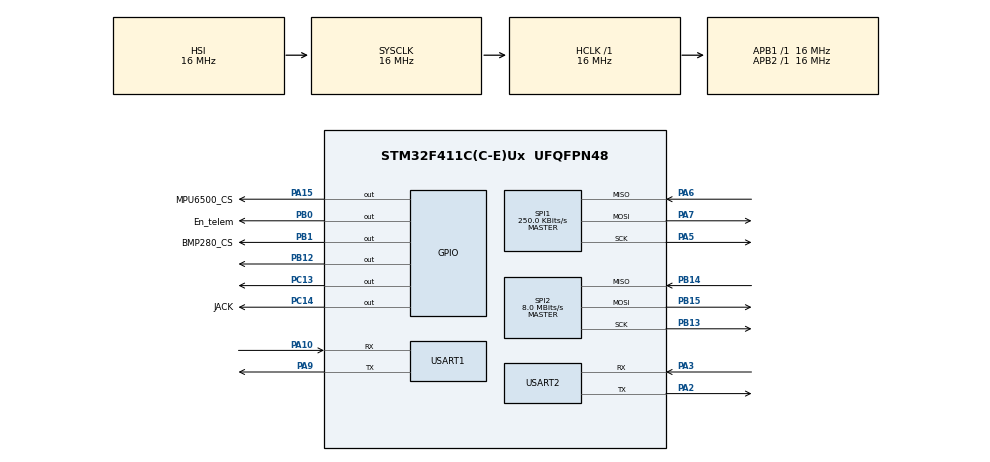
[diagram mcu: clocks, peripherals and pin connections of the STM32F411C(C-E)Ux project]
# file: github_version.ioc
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FATFS._FS_MINIMIZE=0
FATFS._MAX_SS=4096
FATFS._USE_LFN=1
Mcu.Family=STM32F4
Mcu.Name=STM32F411C(C-E)Ux
Mcu.Package=UFQFPN48
NVIC.PriorityGroup=NVIC_PRIORITYGROUP_4
NVIC.TIM2_IRQn=true\:0\:0\:false\:false\:true\:true\:true\:true
PA10.Mode=Asynchronous
PA10.Signal=USART1_RX
PA15.GPIO_Label=MPU6500_CS
PA15.GPIO_Speed=GPIO_SPEED_FREQ_HIGH
PA15.PinState=GPIO_PIN_SET
PA15.Signal=GPIO_Output
PA2.Mode=Asynchronous
PA2.Signal=USART2_TX
PA3.Mode=Asynchronous
PA3.Signal=USART2_RX
PA5.Mode=Full_Duplex_Master
PA5.Signal=SPI1_SCK
PA6.Mode=Full_Duplex_Master
PA6.Signal=SPI1_MISO
PA7.Mode=Full_Duplex_Master
PA7.Signal=SPI1_MOSI
PA9.Mode=Asynchronous
PA9.Signal=USART1_TX
PB0.GPIO_Label=En_telem
PB0.GPIO_Speed=GPIO_SPEED_FREQ_LOW
PB0.PinState=GPIO_PIN_RESET
PB0.Signal=GPIO_Output
PB1.GPIO_Label=BMP280_CS
PB1.GPIO_Speed=GPIO_SPEED_FREQ_HIGH
PB1.PinState=GPIO_PIN_SET
PB1.Signal=GPIO_Output
PB12.Signal=GPIO_Output
PB13.Mode=Full_Duplex_Master
PB13.Signal=SPI2_SCK
PB14.Mode=Full_Duplex_Master
PB14.Signal=SPI2_MISO
PB15.Mode=Full_Duplex_Master
PB15.Signal=SPI2_MOSI
PC13-ANTI_TAMP.Signal=GPIO_Output
PC14-OSC32_IN.GPIO_Label=JACK
PC14-OSC32_IN.GPIO_PuPd=GPIO_PULLUP
PC14-OSC32_IN.PinState=GPIO_PIN_SET
PC14-OSC32_IN.Signal=GPIO_Output
ProjectManager.HeapSize=0x200
ProjectManager.StackSize=0x400
ProjectManager.TargetToolchain=STM32CubeIDE
RCC.48MHZClocksFreq_Value=48000000
RCC.AHBFreq_Value=16000000
RCC.APB1Freq_Value=16000000
RCC.APB2Freq_Value=16000000
RCC.CortexFreq_Value=16000000
RCC.HSE_VALUE=25000000
RCC.HSI_VALUE=16000000
RCC.LSE_VALUE=32768
RCC.SYSCLKFreq_VALUE=16000000
RCC.VCOOutputFreq_Value=192000000
SPI1.BaudRatePrescaler=SPI_BAUDRATEPRESCALER_64
SPI1.CLKPhase=SPI_PHASE_2EDGE
SPI1.CLKPolarity=SPI_POLARITY_HIGH
SPI1.CalculateBaudRate=250.0 KBits/s
SPI1.DataSize=SPI_DATASIZE_8BIT
SPI1.Direction=SPI_DIRECTION_2LINES
SPI1.Mode=SPI_MODE_MASTER
SPI1.VirtualType=VM_MASTER
SPI2.CalculateBaudRate=8.0 MBits/s
SPI2.Direction=SPI_DIRECTION_2LINES
SPI2.Mode=SPI_MODE_MASTER
SPI2.VirtualType=VM_MASTER
TIM2.Period=9
TIM2.Prescaler=1599
USART1.VirtualMode=VM_ASYNC
USART2.VirtualMode=VM_ASYNC
VP_FATFS_VS_Generic.Mode=User_defined
VP_TIM2_VS_ClockSourceINT.Mode=Internal
board=custom

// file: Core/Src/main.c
/* USER CODE BEGIN Header */
/**
  ******************************************************************************
  * @file           : main.c
  * @brief          : Main program body
  ******************************************************************************
  * @attention
  *
  * Copyright (c) 2023 STMicroelectronics.
  * All rights reserved.
  *
  * This software is licensed under terms that can be found in the LICENSE file
  * in the root directory of this software component.
  * If no LICENSE file comes with this software, it is provided AS-IS.
  *
  ******************************************************************************
  */
/* USER CODE END Header */
#include "main.h"
#include "fatfs.h"
#include "spi.h"
#include "tim.h"
#include "usart.h"
#include "gpio.h"

/* USER CODE BEGIN Includes */
#include <stdio.h>
#include <string.h>
#include "mpu9250.h"
#include "bmp280.h"
/* USER CODE END Includes */

/* USER CODE BEGIN PD */
#define ACCEL_SENSITIVITY_SCALE_FACTOR 4096.0
#define GYRO_SENSITIVITY_SCALE_FACTOR 32.8
#define TEMP_SCALE_FACTOR 100.0 //chatgpt, to be verify
#define PRESSURE_SCALE_FACTOR 25600.0 // idem
#define DATA_BUFFER_SIZE 40000
#define EXPE_DATA_SIZE 50
#define ACQUISITION_DELAY 10 //ms
#define MOTOR_DELAY 100 //ms
#define WRITE_SD_DELAY 2000 //ms
#define START_TELEM 5000 //ms
#define STOP_TELEM 180000 //ms
/* USER CODE END PD */

void SystemClock_Config(void);
/* USER CODE BEGIN PFP */
void process_SD_card(const char *data);
void init_SD_card(void);
/* USER CODE END PFP */

/* USER CODE BEGIN 0 */
int _write(int file, char *ptr, int len) {
    HAL_UART_Transmit(&huart2, (uint8_t*)ptr, len, HAL_MAX_DELAY);
    return len;
}
/* USER CODE END 0 */

int main(void)
{
  /* USER CODE BEGIN 1 */
  BMP280 bmp;
  char init_buffer[100];

  /* USER CODE END 1 */

  /* MCU Configuration--------------------------------------------------------*/

  /* Reset of all peripherals, Initializes the Flash interface and the Systick. */
  HAL_Init();

  /* Configure the system clock */
  SystemClock_Config();

  /* USER CODE BEGIN SysInit */
  MX_TIM2_Init();
  /* USER CODE END SysInit */

  /* Initialize all configured peripherals */
  MX_GPIO_Init();
  MX_SPI1_Init();
  MX_USART2_UART_Init();
  MX_FATFS_Init();
  MX_SPI2_Init();
  MX_TIM2_Init();
  MX_USART1_UART_Init();
  /* USER CODE BEGIN 2 */
  MPU9250_Init(hspi1);
  bmp280_init(&bmp, &hspi1);
  HAL_Delay(500);
  init_SD_card();
  sprintf(init_buffer, "########################## New flight ##########################\n");
  process_SD_card(init_buffer);
  memset(init_buffer, 0, 100);

  /* USER CODE END 2 */

  /* Infinite loop */
  /* USER CODE BEGIN WHILE */

  char buffer[DATA_BUFFER_SIZE];
  uint8_t bufferNano[EXPE_DATA_SIZE];
  uint8_t launch = 0;
  int telem = 0;
  uint8_t expe = 0;

  HAL_StatusTypeDef status;
  printf("Starting\n");
  do {
	  status = HAL_UART_Receive(&huart1, &launch, 1, HAL_MAX_DELAY);
	  printf("Jack\n");
  } while (status != HAL_OK);  // Réessayer tant que la réception n'est pas réussie
  printf("Launching !\n");
  //launch = 1;

  // Démarrer le timer en mode interruption
  HAL_TIM_Base_Start_IT(&htim2);

  while (launch){
	static uint32_t ackTick = 0;
	static uint32_t sdTick = 0;
	static uint32_t expeTick = 0;
	static uint32_t currentTick = 0;
	static int index = 0;

	currentTick = HAL_GetTick();

	status = HAL_UART_Receive(&huart1, bufferNano, EXPE_DATA_SIZE, HAL_MAX_DELAY);

	if (status == HAL_OK) {
		// Données reçues avec succès
		int expe_data_size = sprintf(buffer+index,"%.50s\n", bufferNano);
		index+=expe_data_size;
	}

	//datas recovering
	if ((currentTick-ackTick) > ACQUISITION_DELAY) {

		int16_t accelData[3];
		int16_t gyroData[3];
		int32_t temperature;
		uint32_t pressure;

		HAL_GPIO_WritePin(GPIOC, GPIO_PIN_13, RESET);
		// Lecture des données d'accélération et gryoscope du MP9250
		MPU9250_ReadAccel(accelData, &hspi1);
		MPU9250_ReadGyro(gyroData, &hspi1);
		//Lecture de la température
		bmp280_read_temperature_and_pressure(&bmp, &temperature, &pressure);
		HAL_GPIO_WritePin(GPIOC, GPIO_PIN_13, SET);

		int accel_size = sprintf(buffer+index, "Accel_X: %.2f, Accel_Y: %.2f, Accel_Z: %.2f\n", (double)accelData[0]/ACCEL_SENSITIVITY_SCALE_FACTOR, (double)accelData[1]/ACCEL_SENSITIVITY_SCALE_FACTOR, (double)accelData[2]/ACCEL_SENSITIVITY_SCALE_FACTOR);
		index += accel_size;
		int gyro_size = sprintf(buffer+index, "Gyro_X: %.2f, Gyro_Y: %.2f, Gyro_Z: %.2f\n", (double)gyroData[0]/GYRO_SENSITIVITY_SCALE_FACTOR, (double)gyroData[1]/GYRO_SENSITIVITY_SCALE_FACTOR, (double)gyroData[2]/GYRO_SENSITIVITY_SCALE_FACTOR);
		index+= gyro_size;
		int bmp_data_size = sprintf(buffer+index, "Temperature: %.2f C, Pressure: %.2f hPa\n", temperature / TEMP_SCALE_FACTOR, pressure / PRESSURE_SCALE_FACTOR);
		index+= bmp_data_size;
		ackTick = currentTick;

	}

	if((currentTick-sdTick) > WRITE_SD_DELAY){
		HAL_GPIO_WritePin(GPIOC, GPIO_PIN_13, RESET);
		if (telem) {
			HAL_UART_Transmit(&huart2, (uint8_t*)buffer, index, HAL_MAX_DELAY);
		}
		process_SD_card(buffer);
		HAL_GPIO_WritePin(GPIOC, GPIO_PIN_13, SET);
		index = 0;
		sdTick = currentTick;
		memset(buffer, 0, DATA_BUFFER_SIZE);
	}

	if((currentTick-expeTick) > MOTOR_DELAY && expe == 1){
		//int16_t gyroData[3];
		//MPU9250_ReadGyro(gyroData, &hspi1);
		//int to_transmit = sprintf(bufferNano, "OK");
		//int to_transmit = sprintf(bufferNano, "Test : %.2f/%.2f/%.2f\n", (double)gyroData[0]/GYRO_SENSITIVITY_SCALE_FACTOR, (double)gyroData[1]/GYRO_SENSITIVITY_SCALE_FACTOR, (double)gyroData[2]/GYRO_SENSITIVITY_SCALE_FACTOR);
		HAL_UART_Transmit(&huart1, &expe, 1, HAL_MAX_DELAY);

		expeTick = currentTick;
	}

	if ((timer_ms > START_TELEM) && (timer_ms < STOP_TELEM)){
		HAL_GPIO_WritePin(GPIOB, En_telem_Pin, SET);
		telem = 1;
		expe = 1;

	}

	if (timer_ms > STOP_TELEM) {
		HAL_GPIO_WritePin(GPIOB, En_telem_Pin, RESET);
		telem = 0 ;
		launch = 0;
		expe = 0;
	}
    /* USER CODE END WHILE */
    /* USER CODE BEGIN 3 */
    }
    while (1);
  /* USER CODE END 3 */
}

void SystemClock_Config(void)
{
  RCC_OscInitTypeDef RCC_OscInitStruct = {0};
  RCC_ClkInitTypeDef RCC_ClkInitStruct = {0};

  /** Configure the main internal regulator output voltage
  */
  __HAL_RCC_PWR_CLK_ENABLE();
  __HAL_PWR_VOLTAGESCALING_CONFIG(PWR_REGULATOR_VOLTAGE_SCALE1);

  /** Initializes the RCC Oscillators according to the specified parameters
  * in the RCC_OscInitTypeDef structure.
  */
  RCC_OscInitStruct.OscillatorType = RCC_OSCILLATORTYPE_HSI;
  RCC_OscInitStruct.HSIState = RCC_HSI_ON;
  RCC_OscInitStruct.HSICalibrationValue = RCC_HSICALIBRATION_DEFAULT;
  RCC_OscInitStruct.PLL.PLLState = RCC_PLL_NONE;
  if (HAL_RCC_OscConfig(&RCC_OscInitStruct) != HAL_OK)
  {
    Error_Handler();
  }

  /** Initializes the CPU, AHB and APB buses clocks
  */
  RCC_ClkInitStruct.ClockType = RCC_CLOCKTYPE_HCLK|RCC_CLOCKTYPE_SYSCLK
                              |RCC_CLOCKTYPE_PCLK1|RCC_CLOCKTYPE_PCLK2;
  RCC_ClkInitStruct.SYSCLKSource = RCC_SYSCLKSOURCE_HSI;
  RCC_ClkInitStruct.AHBCLKDivider = RCC_SYSCLK_DIV1;
  RCC_ClkInitStruct.APB1CLKDivider = RCC_HCLK_DIV1;
  RCC_ClkInitStruct.APB2CLKDivider = RCC_HCLK_DIV1;

  if (HAL_RCC_ClockConfig(&RCC_ClkInitStruct, FLASH_LATENCY_0) != HAL_OK)
  {
    Error_Handler();
  }
}

/* USER CODE BEGIN 4 */
void init_SD_card(void){
	FATFS       FatFs;
	FRESULT     fres;
	FIL         fil;

	//Mount the SD Card
	fres = f_mount(&FatFs, "", 1);    //1=mount now
	if (fres != FR_OK)
	{
	  printf("No SD Card found : (%i)\r\n", fres);
	} else {
		printf("SD Card Mounted Successfully!!!\r\n");
		//Create file for record
		fres = f_open(&fil, "test.txt", FA_WRITE | FA_READ | FA_CREATE_NEW);
		if(fres != FR_OK)
		{
			printf("File creation/open Error : (%i)\r\n", fres);
		}
		f_mount(NULL, "", 0);
		f_close(&fil);
	}

}

void process_SD_card(const char *datas)
{
	FIL         fil;                  //File handle
	FRESULT     fres;                 //Result after operations
	FATFS       FatFs;

	//Mount the SD Card
	fres = f_mount(&FatFs, "", 1);    //1=mount now
	if (fres != FR_OK)
	{
	  printf("No SD Card found : (%i)\r\n", fres);
	}

	//Open the file
	fres = f_open(&fil, "test.txt", FA_OPEN_APPEND | FA_WRITE );
	if(fres != FR_OK)
	{
	  printf("File creation/open Error : (%i)\r\n", fres);
	}
	//printf("Writing data!!!\r\n");
	//write the data
	f_printf(&fil, datas);
	//close your file
	f_close(&fil);
	//We're done, so de-mount the drive
	f_mount(NULL, "", 0);
	//printf("SD Card Unmounted Successfully!!!\r\n");
  }

/* USER CODE END 4 */

void Error_Handler(void)
{
  __disable_irq();
  while (1)
  {
  }
}
